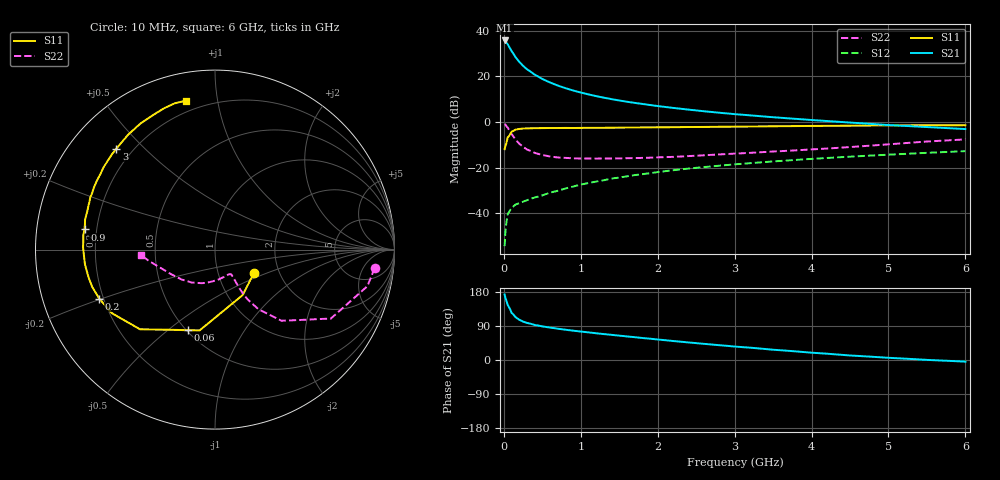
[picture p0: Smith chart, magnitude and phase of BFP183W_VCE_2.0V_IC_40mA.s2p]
! Infineon Technologies  Discrete & RF Semiconductors
! BFP183W
! VCE =  2.0 V,  IC =  40 mA
! Common Emitter S-Parameters:  Jan 2017
# GHz  S  MA  R  50
!  f  S11  S21  S12  S22
! GHz  MAG  ANG  MAG  ANG  MAG  ANG  MAG  ANG
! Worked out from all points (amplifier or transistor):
!   77 points, 10 MHz to 6 GHz, reference 50 ohm
!   highest |S21| = 35.7 dB at 10 MHz (marker M1)
!   |S21| within 3 dB of that: start of sweep to 72.88 MHz
!   unconditionally stable (mu >= 1): 482 MHz to 4.306 GHz
!   at 130 MHz: K = 0.45, MSG = 33.2 dB, |S12| = -36.8 dB
!   at 2.2 GHz: K = 1.15, MAG = 11.3 dB, |S12| = -21.2 dB
!   at 6 GHz: K = 0.93, MSG = 4.8 dB, |S12| = -12.8 dB
!   S11 on the Smith chart (normalised r, x): 10 MHz: 1.48, -0.42; 60 MHz: 0.51, -0.59; 200 MHz: 0.18, -0.20; 900 MHz: 0.15, +0.08; 3 GHz: 0.14, +0.41; 6 GHz: 0.14, +0.82
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0.01  0.2529 -31.3  60.71 172.9  0.0019 87.2  0.8955 -6.6
0.02  0.2963 -58.5  59.31 164.5  0.0038 79.8  0.8731 -13.5
0.05  0.4583 -100.8  50.3 145.0  0.0094 60.6  0.751 -30.8
0.06  0.4741 -108.7  47 141.9  0.0101 58.0  0.7058 -33.2
0.1  0.6098 -133.3  35.73 124.5  0.013 50.4  0.5429 -46.9
0.15  0.6751 -148.4  26.51 113.4  0.0154 44.5  0.4119 -53.9
0.2  0.7005 -157.1  20.71 106.3  0.0166 45.3  0.3343 -56.7
0.25  0.715 -163.1  16.91 101.4  0.0179 45.5  0.284 -57.6
0.3  0.721 -167.4  14.25 97.9  0.0193 47.9  0.2498 -57.7
0.4  0.7291 -173.4  10.86 92.5  0.0221 51.7  0.2098 -57.2
0.5  0.7312 -177.6  8.717 88.7  0.0246 54.8  0.1884 -56.8
0.6  0.7352 179.0  7.294 85.5  0.0282 56.7  0.175 -56.8
0.7  0.7353 176.3  6.257 82.7  0.031 60.1  0.1663 -56.6
0.9  0.7355 171.2  4.867 77.4  0.0384 62.9  0.1596 -58.8
1.1  0.7429 167.0  4.001 72.9  0.0459 64.7  0.1581 -61.4
1.5  0.7482 159.2  2.943 64.3  0.0604 65.2  0.1587 -69.6
2.1  0.7628 148.4  2.122 52.2  0.0834 64.0  0.1692 -85.9
3  0.7865 134.3  1.48 35.5  0.1174 59.4  0.2021 -112.3
3.1  0.7887 132.8  1.435 34.0  0.1211 58.8  0.2058 -115.1
4.1  0.8176 119.2  1.073 18.0  0.1585 52.1  0.2552 -141.1
5.1  0.8385 108.8  0.836 4.8  0.1952 44.9  0.3321 -163.8
6  0.8454 100.9  0.697 -4.4  0.2288 38.1  0.4136 -175.8
